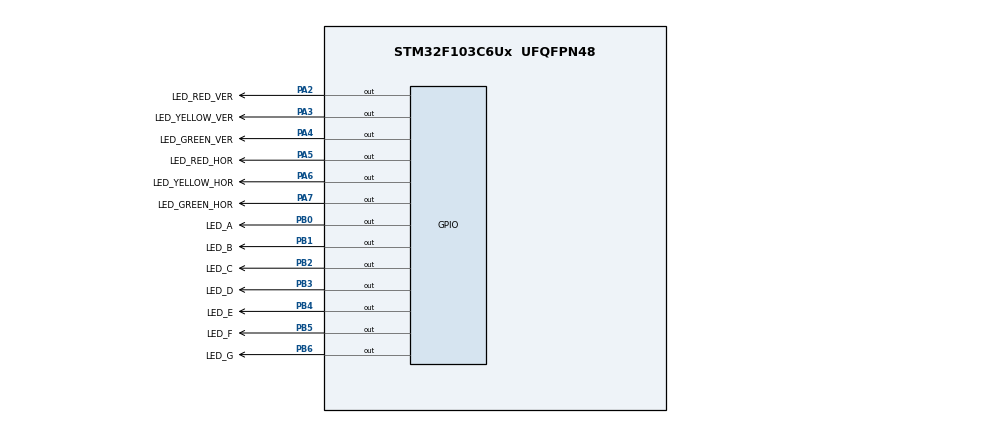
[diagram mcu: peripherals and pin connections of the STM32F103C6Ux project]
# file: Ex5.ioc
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Mcu.Family=STM32F1
Mcu.Name=STM32F103C6Ux
Mcu.Package=UFQFPN48
NVIC.PriorityGroup=NVIC_PRIORITYGROUP_4
PA2.GPIO_Label=LED_RED_VER
PA2.Signal=GPIO_Output
PA3.GPIO_Label=LED_YELLOW_VER
PA3.Signal=GPIO_Output
PA4.GPIO_Label=LED_GREEN_VER
PA4.Signal=GPIO_Output
PA5.GPIO_Label=LED_RED_HOR
PA5.Signal=GPIO_Output
PA6.GPIO_Label=LED_YELLOW_HOR
PA6.Signal=GPIO_Output
PA7.GPIO_Label=LED_GREEN_HOR
PA7.Signal=GPIO_Output
PB0.GPIO_Label=LED_A
PB0.Signal=GPIO_Output
PB1.GPIO_Label=LED_B
PB1.Signal=GPIO_Output
PB2.GPIO_Label=LED_C
PB2.Signal=GPIO_Output
PB3.GPIO_Label=LED_D
PB3.Signal=GPIO_Output
PB4.GPIO_Label=LED_E
PB4.Signal=GPIO_Output
PB5.GPIO_Label=LED_F
PB5.Signal=GPIO_Output
PB6.GPIO_Label=LED_G
PB6.Signal=GPIO_Output
ProjectManager.HeapSize=0x200
ProjectManager.StackSize=0x400
ProjectManager.TargetToolchain=STM32CubeIDE
RCC.APB1Freq_Value=8000000
RCC.APB2Freq_Value=8000000
VP_SYS_VS_ND.Mode=No_Debug
board=custom

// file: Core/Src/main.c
/* USER CODE BEGIN Header */
/**
  ******************************************************************************
  * @file           : main.c
  * @brief          : Main program body
  ******************************************************************************
  * @attention
  *
  * <h2><center>&copy; Copyright (c) 2022 STMicroelectronics.
  * All rights reserved.</center></h2>
  *
  * This software component is licensed by ST under BSD 3-Clause license,
  * the "License"; You may not use this file except in compliance with the
  * License. You may obtain a copy of the License at:
  *                        opensource.org/licenses/BSD-3-Clause
  *
  ******************************************************************************
  */
/* USER CODE END Header */
#include "main.h"

void SystemClock_Config(void);
static void MX_GPIO_Init(void);

/* USER CODE BEGIN 0 */
void display7SEG(int num){
	if (num == 0){
		HAL_GPIO_WritePin(LED_A_GPIO_Port, LED_A_Pin, GPIO_PIN_RESET);
		HAL_GPIO_WritePin(LED_B_GPIO_Port, LED_B_Pin, GPIO_PIN_RESET);
		HAL_GPIO_WritePin(LED_C_GPIO_Port, LED_C_Pin, GPIO_PIN_RESET);
		HAL_GPIO_WritePin(LED_D_GPIO_Port, LED_D_Pin, GPIO_PIN_RESET);
		HAL_GPIO_WritePin(LED_E_GPIO_Port, LED_E_Pin, GPIO_PIN_RESET);
		HAL_GPIO_WritePin(LED_F_GPIO_Port, LED_F_Pin, GPIO_PIN_RESET);
		HAL_GPIO_WritePin(LED_G_GPIO_Port, LED_G_Pin, GPIO_PIN_SET);
	}
	else  if (num == 1){
		HAL_GPIO_WritePin(LED_A_GPIO_Port, LED_A_Pin, GPIO_PIN_SET);
		HAL_GPIO_WritePin(LED_B_GPIO_Port, LED_B_Pin, GPIO_PIN_RESET);
		HAL_GPIO_WritePin(LED_C_GPIO_Port, LED_C_Pin, GPIO_PIN_RESET);
		HAL_GPIO_WritePin(LED_D_GPIO_Port, LED_D_Pin, GPIO_PIN_SET);
		HAL_GPIO_WritePin(LED_E_GPIO_Port, LED_E_Pin, GPIO_PIN_SET);
		HAL_GPIO_WritePin(LED_F_GPIO_Port, LED_F_Pin, GPIO_PIN_SET);
		HAL_GPIO_WritePin(LED_G_GPIO_Port, LED_G_Pin, GPIO_PIN_SET);
	}
	else  if (num == 2){
		HAL_GPIO_WritePin(LED_A_GPIO_Port, LED_A_Pin, GPIO_PIN_RESET);
		HAL_GPIO_WritePin(LED_B_GPIO_Port, LED_B_Pin, GPIO_PIN_RESET);
		HAL_GPIO_WritePin(LED_C_GPIO_Port, LED_C_Pin, GPIO_PIN_SET);
		HAL_GPIO_WritePin(LED_D_GPIO_Port, LED_D_Pin, GPIO_PIN_RESET);
		HAL_GPIO_WritePin(LED_E_GPIO_Port, LED_E_Pin, GPIO_PIN_RESET);
		HAL_GPIO_WritePin(LED_F_GPIO_Port, LED_F_Pin, GPIO_PIN_SET);
		HAL_GPIO_WritePin(LED_G_GPIO_Port, LED_G_Pin, GPIO_PIN_RESET);
	}
	else  if (num == 3){
		HAL_GPIO_WritePin(LED_A_GPIO_Port, LED_A_Pin, GPIO_PIN_RESET);
		HAL_GPIO_WritePin(LED_B_GPIO_Port, LED_B_Pin, GPIO_PIN_RESET);
		HAL_GPIO_WritePin(LED_C_GPIO_Port, LED_C_Pin, GPIO_PIN_RESET);
		HAL_GPIO_WritePin(LED_D_GPIO_Port, LED_D_Pin, GPIO_PIN_RESET);
		HAL_GPIO_WritePin(LED_E_GPIO_Port, LED_E_Pin, GPIO_PIN_SET);
		HAL_GPIO_WritePin(LED_F_GPIO_Port, LED_F_Pin, GPIO_PIN_SET);
		HAL_GPIO_WritePin(LED_G_GPIO_Port, LED_G_Pin, GPIO_PIN_RESET);
	}
	else  if (num == 4){
		HAL_GPIO_WritePin(LED_A_GPIO_Port, LED_A_Pin, GPIO_PIN_SET);
		HAL_GPIO_WritePin(LED_B_GPIO_Port, LED_B_Pin, GPIO_PIN_RESET);
		HAL_GPIO_WritePin(LED_C_GPIO_Port, LED_C_Pin, GPIO_PIN_RESET);
		HAL_GPIO_WritePin(LED_D_GPIO_Port, LED_D_Pin, GPIO_PIN_SET);
		HAL_GPIO_WritePin(LED_E_GPIO_Port, LED_E_Pin, GPIO_PIN_SET);
		HAL_GPIO_WritePin(LED_F_GPIO_Port, LED_F_Pin, GPIO_PIN_RESET);
		HAL_GPIO_WritePin(LED_G_GPIO_Port, LED_G_Pin, GPIO_PIN_RESET);
	}
	else  if (num == 5){
		HAL_GPIO_WritePin(LED_A_GPIO_Port, LED_A_Pin, GPIO_PIN_RESET);
		HAL_GPIO_WritePin(LED_B_GPIO_Port, LED_B_Pin, GPIO_PIN_SET);
		HAL_GPIO_WritePin(LED_C_GPIO_Port, LED_C_Pin, GPIO_PIN_RESET);
		HAL_GPIO_WritePin(LED_D_GPIO_Port, LED_D_Pin, GPIO_PIN_RESET);
		HAL_GPIO_WritePin(LED_E_GPIO_Port, LED_E_Pin, GPIO_PIN_SET);
		HAL_GPIO_WritePin(LED_F_GPIO_Port, LED_F_Pin, GPIO_PIN_RESET);
		HAL_GPIO_WritePin(LED_G_GPIO_Port, LED_G_Pin, GPIO_PIN_RESET);
	}
	else  if (num == 6){
		HAL_GPIO_WritePin(LED_A_GPIO_Port, LED_A_Pin, GPIO_PIN_RESET);
		HAL_GPIO_WritePin(LED_B_GPIO_Port, LED_B_Pin, GPIO_PIN_SET);
		HAL_GPIO_WritePin(LED_C_GPIO_Port, LED_C_Pin, GPIO_PIN_RESET);
		HAL_GPIO_WritePin(LED_D_GPIO_Port, LED_D_Pin, GPIO_PIN_RESET);
		HAL_GPIO_WritePin(LED_E_GPIO_Port, LED_E_Pin, GPIO_PIN_RESET);
		HAL_GPIO_WritePin(LED_F_GPIO_Port, LED_F_Pin, GPIO_PIN_RESET);
		HAL_GPIO_WritePin(LED_G_GPIO_Port, LED_G_Pin, GPIO_PIN_RESET);
	}
	else  if (num == 7){
		HAL_GPIO_WritePin(LED_A_GPIO_Port, LED_A_Pin, GPIO_PIN_RESET);
		HAL_GPIO_WritePin(LED_B_GPIO_Port, LED_B_Pin, GPIO_PIN_RESET);
		HAL_GPIO_WritePin(LED_C_GPIO_Port, LED_C_Pin, GPIO_PIN_RESET);
		HAL_GPIO_WritePin(LED_D_GPIO_Port, LED_D_Pin, GPIO_PIN_SET);
		HAL_GPIO_WritePin(LED_E_GPIO_Port, LED_E_Pin, GPIO_PIN_SET);
		HAL_GPIO_WritePin(LED_F_GPIO_Port, LED_F_Pin, GPIO_PIN_SET);
		HAL_GPIO_WritePin(LED_G_GPIO_Port, LED_G_Pin, GPIO_PIN_SET);
	}
	else  if (num == 8){
		HAL_GPIO_WritePin(LED_A_GPIO_Port, LED_A_Pin, GPIO_PIN_RESET);
		HAL_GPIO_WritePin(LED_B_GPIO_Port, LED_B_Pin, GPIO_PIN_RESET);
		HAL_GPIO_WritePin(LED_C_GPIO_Port, LED_C_Pin, GPIO_PIN_RESET);
		HAL_GPIO_WritePin(LED_D_GPIO_Port, LED_D_Pin, GPIO_PIN_RESET);
		HAL_GPIO_WritePin(LED_E_GPIO_Port, LED_E_Pin, GPIO_PIN_RESET);
		HAL_GPIO_WritePin(LED_F_GPIO_Port, LED_F_Pin, GPIO_PIN_RESET);
		HAL_GPIO_WritePin(LED_G_GPIO_Port, LED_G_Pin, GPIO_PIN_RESET);
	}
	else  if (num == 9){
		HAL_GPIO_WritePin(LED_A_GPIO_Port, LED_A_Pin, GPIO_PIN_RESET);
		HAL_GPIO_WritePin(LED_B_GPIO_Port, LED_B_Pin, GPIO_PIN_RESET);
		HAL_GPIO_WritePin(LED_C_GPIO_Port, LED_C_Pin, GPIO_PIN_RESET);
		HAL_GPIO_WritePin(LED_D_GPIO_Port, LED_D_Pin, GPIO_PIN_RESET);
		HAL_GPIO_WritePin(LED_E_GPIO_Port, LED_E_Pin, GPIO_PIN_SET);
		HAL_GPIO_WritePin(LED_F_GPIO_Port, LED_F_Pin, GPIO_PIN_RESET);
		HAL_GPIO_WritePin(LED_G_GPIO_Port, LED_G_Pin, GPIO_PIN_RESET);
	}
}
/* USER CODE END 0 */

int main(void)
{

  /* MCU Configuration--------------------------------------------------------*/

  /* Reset of all peripherals, Initializes the Flash interface and the Systick. */
  HAL_Init();

  /* Configure the system clock */
  SystemClock_Config();

  /* Initialize all configured peripherals */
  MX_GPIO_Init();

  /* Infinite loop */
  /* USER CODE BEGIN WHILE */
  //vertical define
  int count_ver = 5;
  int red_ver = 1; // 5s
  int yellow_ver = 0; // 2s
  int green_ver = 0;  // 3s
  //horizon define
  int count_hor = 5;
  int red_hor = 0; // 5s
  int yellow_hor = 0; // 2s
  int green_hor = 1;  // 3s

  //
  int count_dis7seg_ver = 0;
  while (1)
  {
    /* USER CODE END WHILE */
	    /* USER CODE END WHILE */
		  // VERTICAl
	  count_ver --;
	  if (count_ver >= 0 && red_ver == 1){
		  HAL_GPIO_WritePin(LED_RED_VER_GPIO_Port, LED_RED_VER_Pin, RESET);
		  HAL_GPIO_WritePin(LED_YELLOW_VER_GPIO_Port, LED_YELLOW_VER_Pin, SET);
		  HAL_GPIO_WritePin(LED_GREEN_VER_GPIO_Port, LED_GREEN_VER_Pin, SET);
		  count_dis7seg_ver = count_ver + 1;
		  display7SEG(count_dis7seg_ver);
		  if(count_ver == 0){
			  red_ver = 0;
			  green_ver = 2;
			  count_ver = 5;
		  }
	  }
	  else if (count_ver >= 2 && green_ver == 2){
		  HAL_GPIO_WritePin(LED_RED_VER_GPIO_Port, LED_RED_VER_Pin, SET);
		  HAL_GPIO_WritePin(LED_YELLOW_VER_GPIO_Port, LED_YELLOW_VER_Pin, SET);
		  HAL_GPIO_WritePin(LED_GREEN_VER_GPIO_Port, LED_GREEN_VER_Pin, RESET);
		  count_dis7seg_ver = count_ver - 2 + 1;
		  display7SEG(count_dis7seg_ver);
		  if(count_ver == 2){
			   green_ver = 0;
			  // red_ver = 0;
			  yellow_ver = 3;
			  count_ver = 5;
		  }
	  }
	  else if (count_ver>= 3 && yellow_ver == 3){
		  HAL_GPIO_WritePin(LED_RED_VER_GPIO_Port, LED_RED_VER_Pin, SET);
		  HAL_GPIO_WritePin(LED_YELLOW_VER_GPIO_Port, LED_YELLOW_VER_Pin, RESET);
		  HAL_GPIO_WritePin(LED_GREEN_VER_GPIO_Port, LED_GREEN_VER_Pin, SET);
		  count_dis7seg_ver = count_ver - 3 + 1;
		  display7SEG(count_dis7seg_ver);
		  if(count_ver == 3){
			  // green_ver = 0
			  yellow_ver = 0;
			  red_ver = 1;
			  count_ver = 5;
		  }
	  }

		  //HORIZONTAL
	  count_hor --;
	  if (count_hor >= 2 && green_hor == 1){
		  HAL_GPIO_WritePin(LED_RED_HOR_GPIO_Port, LED_RED_HOR_Pin, SET);
		  HAL_GPIO_WritePin(LED_YELLOW_HOR_GPIO_Port, LED_YELLOW_HOR_Pin, SET);
		  HAL_GPIO_WritePin(LED_GREEN_HOR_GPIO_Port, LED_GREEN_HOR_Pin, RESET);
		  if(count_hor == 2){
			  green_hor = 0;
			  yellow_hor = 2;
			  count_hor = 5;
		  }
	  }
	  else if (count_hor >= 3 && yellow_hor == 2){
		  HAL_GPIO_WritePin(LED_RED_HOR_GPIO_Port, LED_RED_HOR_Pin, SET);
		  HAL_GPIO_WritePin(LED_YELLOW_HOR_GPIO_Port, LED_YELLOW_HOR_Pin, RESET);
		  HAL_GPIO_WritePin(LED_GREEN_HOR_GPIO_Port, LED_GREEN_HOR_Pin, SET);
		  if(count_hor == 3){
			  // red = 0
			  yellow_hor = 0;
			  red_hor = 3;
			  count_hor = 5;
		  }
	  }
	  else if (count_hor >= 0 && red_hor == 3){
		  HAL_GPIO_WritePin(LED_RED_HOR_GPIO_Port, LED_RED_HOR_Pin, RESET);
		  HAL_GPIO_WritePin(LED_YELLOW_HOR_GPIO_Port, LED_YELLOW_HOR_Pin, SET);
		  HAL_GPIO_WritePin(LED_GREEN_HOR_GPIO_Port, LED_GREEN_HOR_Pin, SET);
		  if(count_hor == 0){
			   red_hor = 0;
			  // yellow = 0;
			  green_hor = 1;
			  count_hor = 5;
		  }
	  }
		  HAL_Delay(1000);
	    /* USER CODE BEGIN 3 */
    /* USER CODE BEGIN 3 */
  }
  /* USER CODE END 3 */
}

void SystemClock_Config(void)
{
  RCC_OscInitTypeDef RCC_OscInitStruct = {0};
  RCC_ClkInitTypeDef RCC_ClkInitStruct = {0};

  /** Initializes the RCC Oscillators according to the specified parameters
  * in the RCC_OscInitTypeDef structure.
  */
  RCC_OscInitStruct.OscillatorType = RCC_OSCILLATORTYPE_HSI;
  RCC_OscInitStruct.HSIState = RCC_HSI_ON;
  RCC_OscInitStruct.HSICalibrationValue = RCC_HSICALIBRATION_DEFAULT;
  RCC_OscInitStruct.PLL.PLLState = RCC_PLL_NONE;
  if (HAL_RCC_OscConfig(&RCC_OscInitStruct) != HAL_OK)
  {
    Error_Handler();
  }
  /** Initializes the CPU, AHB and APB buses clocks
  */
  RCC_ClkInitStruct.ClockType = RCC_CLOCKTYPE_HCLK|RCC_CLOCKTYPE_SYSCLK
                              |RCC_CLOCKTYPE_PCLK1|RCC_CLOCKTYPE_PCLK2;
  RCC_ClkInitStruct.SYSCLKSource = RCC_SYSCLKSOURCE_HSI;
  RCC_ClkInitStruct.AHBCLKDivider = RCC_SYSCLK_DIV1;
  RCC_ClkInitStruct.APB1CLKDivider = RCC_HCLK_DIV1;
  RCC_ClkInitStruct.APB2CLKDivider = RCC_HCLK_DIV1;

  if (HAL_RCC_ClockConfig(&RCC_ClkInitStruct, FLASH_LATENCY_0) != HAL_OK)
  {
    Error_Handler();
  }
}

static void MX_GPIO_Init(void)
{
  GPIO_InitTypeDef GPIO_InitStruct = {0};

  /* GPIO Ports Clock Enable */
  __HAL_RCC_GPIOA_CLK_ENABLE();
  __HAL_RCC_GPIOB_CLK_ENABLE();

  /*Configure GPIO pin Output Level */
  HAL_GPIO_WritePin(GPIOA, LED_RED_VER_Pin|LED_YELLOW_VER_Pin|LED_GREEN_VER_Pin|LED_RED_HOR_Pin
                          |LED_YELLOW_HOR_Pin|LED_GREEN_HOR_Pin, GPIO_PIN_RESET);

  /*Configure GPIO pin Output Level */
  HAL_GPIO_WritePin(GPIOB, LED_A_Pin|LED_B_Pin|LED_C_Pin|LED_D_Pin
                          |LED_E_Pin|LED_F_Pin|LED_G_Pin, GPIO_PIN_RESET);

  /*Configure GPIO pins : LED_RED_VER_Pin LED_YELLOW_VER_Pin LED_GREEN_VER_Pin LED_RED_HOR_Pin
                           LED_YELLOW_HOR_Pin LED_GREEN_HOR_Pin */
  GPIO_InitStruct.Pin = LED_RED_VER_Pin|LED_YELLOW_VER_Pin|LED_GREEN_VER_Pin|LED_RED_HOR_Pin
                          |LED_YELLOW_HOR_Pin|LED_GREEN_HOR_Pin;
  GPIO_InitStruct.Mode = GPIO_MODE_OUTPUT_PP;
  GPIO_InitStruct.Pull = GPIO_NOPULL;
  GPIO_InitStruct.Speed = GPIO_SPEED_FREQ_LOW;
  HAL_GPIO_Init(GPIOA, &GPIO_InitStruct);

  /*Configure GPIO pins : LED_A_Pin LED_B_Pin LED_C_Pin LED_D_Pin
                           LED_E_Pin LED_F_Pin LED_G_Pin */
  GPIO_InitStruct.Pin = LED_A_Pin|LED_B_Pin|LED_C_Pin|LED_D_Pin
                          |LED_E_Pin|LED_F_Pin|LED_G_Pin;
  GPIO_InitStruct.Mode = GPIO_MODE_OUTPUT_PP;
  GPIO_InitStruct.Pull = GPIO_NOPULL;
  GPIO_InitStruct.Speed = GPIO_SPEED_FREQ_LOW;
  HAL_GPIO_Init(GPIOB, &GPIO_InitStruct);

}

void Error_Handler(void)
{
  __disable_irq();
  while (1)
  {
  }
}

/************************ (C) COPYRIGHT STMicroelectronics *****END OF FILE****/
